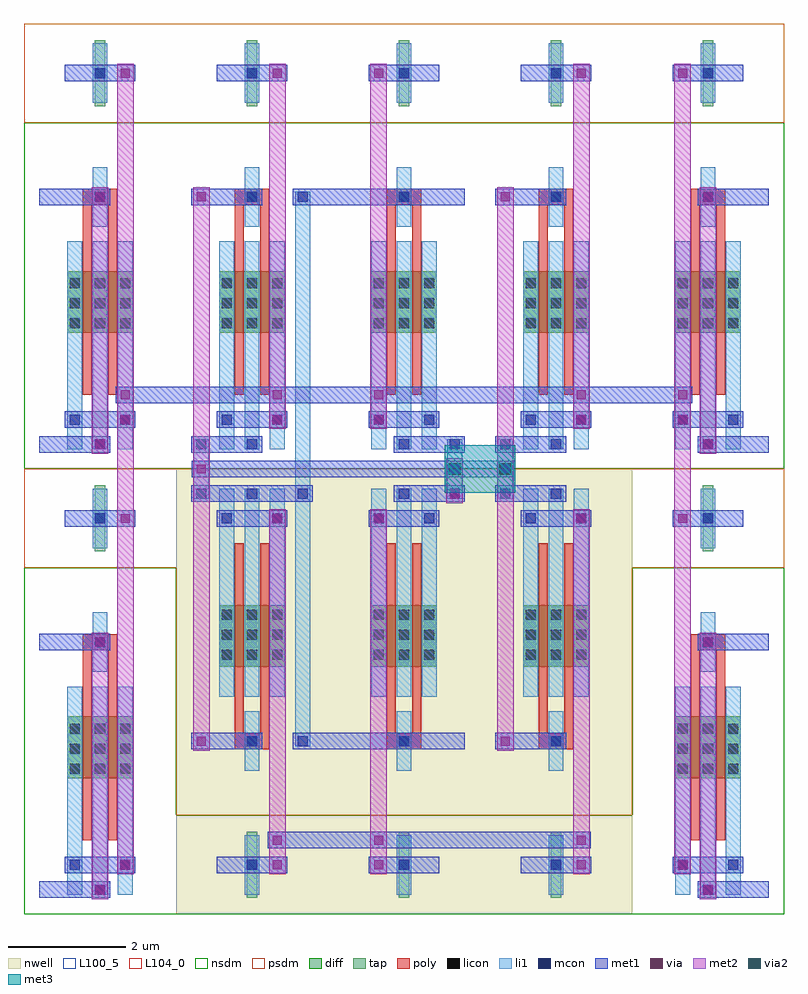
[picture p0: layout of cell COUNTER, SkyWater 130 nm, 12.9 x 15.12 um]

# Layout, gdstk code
import gdstk
lib = gdstk.Library(unit=1e-6, precision=1e-09)
def R(c, l, rs):  # rectangles x0, y0, x1, y1
    for r in rs: c.add(gdstk.rectangle(r[:2], r[2:], *l))
def A(c, l, x, y, w, h, nx, ny, dx, dy):  # array of equal rectangles
    R(c, l, [(x+i*dx, y+j*dy, x+i*dx+w, y+j*dy+h) for i in range(nx) for j in range(ny)])
nwell = (64, 20)
diff = (65, 20)
tap = (65, 44)
poly = (66, 20)
licon = (66, 44)
li1 = (67, 20)
mcon = (67, 44)
met1 = (68, 20)
via = (68, 44)
met2 = (69, 20)
via2 = (69, 44)
met3 = (70, 20)
nsdm = (93, 44)
psdm = (94, 20)
L100_5 = (100, 5)
L104_0 = (104, 0)

counter = lib.new_cell('COUNTER')
A(counter, nwell, 2.58, 0, 2.58, 7.56, 3, 1, 2.58, 0)
A(counter, diff, 3.315, 4.2, 1.11, 1.05, 3, 1, 2.58, 0)
A(counter, diff, 0.735, 9.87, 1.11, 1.05, 5, 1, 2.58, 0)
R(counter, diff, [(0.735,2.31,1.845,3.36), (11.055,2.31,12.165,3.36)])
A(counter, tap, 3.785, 0.28, 0.17, 1.12, 3, 1, 2.58, 0)
A(counter, tap, 1.205, 13.72, 0.17, 1.12, 5, 1, 2.58, 0)
R(counter, tap, [(1.205,6.16,1.375,7.28), (11.525,6.16,11.695,7.28)])
A(counter, poly, 3.58, 2.805, 0.58, 0.27, 3, 1, 2.58, 0)
A(counter, poly, 1, 12.045, 0.58, 0.27, 5, 1, 2.58, 0)
R(counter, poly, [(1,1.26,1.15,4.62), (1.43,1.26,1.58,4.62), (11.32,1.26,11.47,4.62), (11.75,1.26,11.9,4.62), (3.58,2.94,3.73,6.3), (4.01,2.94,4.16,6.3), (6.16,2.94,6.31,6.3), (6.59,2.94,6.74,6.3), (8.74,2.94,8.89,6.3), (9.17,2.94,9.32,6.3), (1,4.485,1.58,4.755), (11.32,4.485,11.9,4.755), (1,8.82,1.15,12.18), (1.43,8.82,1.58,12.18), (3.58,8.82,3.73,12.18), (4.01,8.82,4.16,12.18), (6.16,8.82,6.31,12.18), (6.59,8.82,6.74,12.18), (8.74,8.82,8.89,12.18), (9.17,8.82,9.32,12.18), (11.32,8.82,11.47,12.18), (11.75,8.82,11.9,12.18)])
A(counter, licon, 3.785, 0.755, 0.17, 0.17, 3, 2, 2.58, 2.1)
A(counter, licon, 0.775, 2.39, 0.17, 0.17, 3, 3, 0.43, 0.34)
A(counter, licon, 11.095, 2.39, 0.17, 0.17, 3, 3, 0.43, 0.34)
A(counter, licon, 3.355, 4.32, 0.17, 0.17, 3, 3, 0.43, 0.34)
A(counter, licon, 5.935, 4.32, 0.17, 0.17, 3, 3, 0.43, 0.34)
A(counter, licon, 8.515, 4.32, 0.17, 0.17, 3, 3, 0.43, 0.34)
A(counter, licon, 0.775, 9.95, 0.17, 0.17, 3, 3, 0.43, 0.34)
A(counter, licon, 3.355, 9.95, 0.17, 0.17, 3, 3, 0.43, 0.34)
A(counter, licon, 5.935, 9.95, 0.17, 0.17, 3, 3, 0.43, 0.34)
A(counter, licon, 8.515, 9.95, 0.17, 0.17, 3, 3, 0.43, 0.34)
A(counter, licon, 11.095, 9.95, 0.17, 0.17, 3, 3, 0.43, 0.34)
A(counter, licon, 1.205, 12.095, 0.17, 0.17, 5, 2, 2.58, 2.1)
R(counter, licon, [(1.205,4.535,1.375,4.705), (11.525,4.535,11.695,4.705), (1.205,6.635,1.375,6.805), (11.525,6.635,11.695,6.805)])
A(counter, li1, 0.735, 0.335, 0.25, 3.53, 3, 2, 0.43, 7.56)
A(counter, li1, 3.745, 0.335, 0.25, 1.01, 3, 2, 2.58, 2.1)
A(counter, li1, 11.055, 0.335, 0.25, 3.53, 3, 2, 0.43, 7.56)
A(counter, li1, 3.315, 3.695, 0.25, 3.53, 3, 2, 0.43, 4.2)
A(counter, li1, 5.895, 3.695, 0.25, 3.53, 3, 2, 0.43, 4.2)
A(counter, li1, 8.475, 3.695, 0.25, 3.53, 3, 2, 0.43, 4.2)
A(counter, li1, 1.165, 11.675, 0.25, 1.01, 5, 2, 2.58, 2.1)
R(counter, li1, [(4.605,2.855,4.855,12.265), (1.165,4.115,1.415,5.125), (11.485,4.115,11.735,5.125), (1.165,6.215,1.415,7.225), (11.485,6.215,11.735,7.225), (2.885,7.055,3.135,8.065), (7.185,7.055,7.435,8.065), (8.045,7.055,8.295,8.065)])
A(counter, mcon, 3.785, 0.755, 0.17, 0.17, 3, 1, 2.58, 0)
A(counter, mcon, 2.925, 7.055, 0.17, 0.17, 3, 1, 0.86, 0)
A(counter, mcon, 6.365, 7.055, 0.17, 0.17, 4, 2, 0.86, 0.84)
A(counter, mcon, 6.365, 12.095, 0.17, 0.17, 3, 1, 2.58, 0)
A(counter, mcon, 1.205, 14.195, 0.17, 0.17, 5, 1, 2.58, 0)
R(counter, mcon, [(1.205,0.335,1.375,0.505), (11.525,0.335,11.695,0.505), (0.775,0.755,0.945,0.925), (1.635,0.755,1.805,0.925), (11.095,0.755,11.265,0.925), (11.955,0.755,12.125,0.925), (3.785,2.855,3.955,3.025), (4.645,2.855,4.815,3.025), (6.365,2.855,6.535,3.025), (8.945,2.855,9.115,3.025), (1.205,4.535,1.375,4.705), (11.525,4.535,11.695,4.705), (1.205,6.635,1.375,6.805), (3.355,6.635,3.525,6.805), (4.215,6.635,4.385,6.805), (5.935,6.635,6.105,6.805), (6.795,6.635,6.965,6.805), (8.515,6.635,8.685,6.805), (9.375,6.635,9.545,6.805), (11.525,6.635,11.695,6.805), (8.085,7.475,8.255,7.645), (1.205,7.895,1.375,8.065), (2.925,7.895,3.095,8.065), (3.785,7.895,3.955,8.065), (11.525,7.895,11.695,8.065), (0.775,8.315,0.945,8.485), (1.635,8.315,1.805,8.485), (3.355,8.315,3.525,8.485), (4.215,8.315,4.385,8.485), (5.935,8.315,6.105,8.485), (6.795,8.315,6.965,8.485), (8.515,8.315,8.685,8.485), (9.375,8.315,9.545,8.485), (11.095,8.315,11.265,8.485), (11.955,8.315,12.125,8.485), (1.205,12.095,1.375,12.265), (3.785,12.095,3.955,12.265), (4.645,12.095,4.815,12.265)])
A(counter, met1, 0.69, 0.7, 1.2, 0.28, 5, 2, 2.58, 5.88)
A(counter, met1, 0.69, 8.26, 1.2, 0.28, 5, 2, 2.58, 5.88)
R(counter, met1, [(0.26,0.28,1.46,0.56), (11.44,0.28,12.64,0.56), (4.14,1.12,9.62,1.4), (2.84,2.8,4.04,3.08), (4.56,2.8,7.48,3.08), (8,2.8,9.2,3.08), (0.26,4.48,1.46,4.76), (11.44,4.48,12.64,4.76), (2.84,7,4.9,7.28), (6.28,7,7.48,7.28), (8,7,9.2,7.28), (2.85,7.42,8.34,7.7), (0.26,7.84,1.46,8.12), (2.84,7.84,4.04,8.12), (6.28,7.84,7.48,8.12), (8,7.84,9.2,8.12), (11.44,7.84,12.64,8.12), (1.56,8.68,11.34,8.96), (0.26,12.04,1.46,12.32), (2.84,12.04,4.04,12.32), (4.56,12.04,7.48,12.32), (8,12.04,9.2,12.32), (11.44,12.04,12.64,12.32)])
A(counter, via, 2.935, 2.865, 0.15, 0.15, 1, 3, 0, 4.62)
R(counter, via, [(1.215,0.345,1.365,0.495), (11.535,0.345,11.685,0.495), (1.645,0.765,1.795,0.915), (4.225,0.765,4.375,0.915), (5.945,0.765,6.095,0.915), (9.385,0.765,9.535,0.915), (11.105,0.765,11.255,0.915), (4.225,1.185,4.375,1.335), (5.945,1.185,6.095,1.335), (9.385,1.185,9.535,1.335), (8.095,2.865,8.245,3.015), (1.215,4.545,1.365,4.695), (11.535,4.545,11.685,4.695), (1.645,6.645,1.795,6.795), (4.225,6.645,4.375,6.795), (5.945,6.645,6.095,6.795), (9.385,6.645,9.535,6.795), (11.105,6.645,11.255,6.795), (7.235,7.065,7.385,7.215), (1.215,7.905,1.365,8.055), (11.535,7.905,11.685,8.055), (1.645,8.325,1.795,8.475), (4.225,8.325,4.375,8.475), (5.945,8.325,6.095,8.475), (9.385,8.325,9.535,8.475), (11.105,8.325,11.255,8.475), (1.645,8.745,1.795,8.895), (4.225,8.745,4.375,8.895), (5.945,8.745,6.095,8.895), (9.385,8.745,9.535,8.895), (11.105,8.745,11.255,8.895), (1.215,12.105,1.365,12.255), (8.095,12.105,8.245,12.255), (11.535,12.105,11.685,12.255), (1.645,14.205,1.795,14.355), (4.225,14.205,4.375,14.355), (5.945,14.205,6.095,14.355), (9.385,14.205,9.535,14.355), (11.105,14.205,11.255,14.355)])
R(counter, met2, [(1.15,0.26,1.43,4.78), (11.47,0.26,11.75,4.78), (1.58,0.68,1.86,14.44), (4.16,0.68,4.44,6.88), (5.88,0.68,6.16,6.88), (9.32,0.68,9.6,6.88), (11.04,0.68,11.32,14.44), (2.87,2.78,3.15,12.34), (8.03,2.78,8.31,12.34), (7.17,6.98,7.45,7.745), (1.15,7.82,1.43,12.34), (11.47,7.82,11.75,12.34), (4.16,8.24,4.44,14.44), (5.88,8.24,6.16,14.44), (9.32,8.24,9.6,14.44)])
R(counter, via2, [(7.21,7.46,7.41,7.66), (8.07,7.46,8.27,7.66)])
R(counter, met3, [(7.145,7.16,8.335,7.96)])
A(counter, nsdm, 2.58, 0, 2.58, 1.68, 3, 1, 2.58, 0)
A(counter, nsdm, 0, 7.56, 2.58, 5.88, 5, 1, 2.58, 0)
R(counter, nsdm, [(0,0,2.58,5.88), (10.32,0,12.9,5.88)])
A(counter, psdm, 2.58, 1.68, 2.58, 5.88, 3, 1, 2.58, 0)
A(counter, psdm, 0, 13.44, 2.58, 1.68, 5, 1, 2.58, 0)
R(counter, psdm, [(0,5.88,2.58,7.56), (10.32,5.88,12.9,7.56)])
R(counter, L100_5, [(0,0,12.9,15.12)])
R(counter, L104_0, [(0,0,12.9,15.12)])

lib.write_gds('COUNTER.gds')
